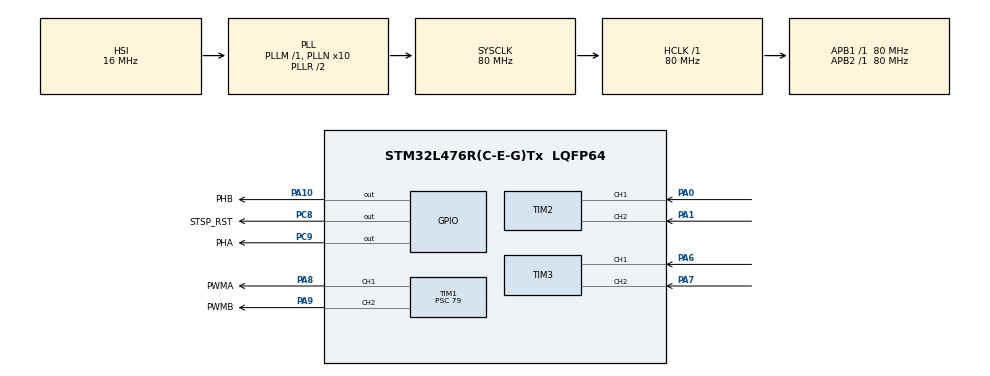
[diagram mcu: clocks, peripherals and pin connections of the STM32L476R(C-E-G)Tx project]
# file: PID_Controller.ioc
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Mcu.Family=STM32L4
Mcu.Name=STM32L476R(C-E-G)Tx
Mcu.Package=LQFP64
NVIC.PriorityGroup=NVIC_PRIORITYGROUP_4
NVIC.TIM4_IRQn=true\:0\:0\:false\:false\:true\:true\:true\:true
PA0.Signal=S_TIM2_CH1
PA1.Signal=S_TIM2_CH2
PA10.GPIO_Label=PHB
PA10.Signal=GPIO_Output
PA13\ (JTMS-SWDIO).Mode=Serial_Wire
PA13\ (JTMS-SWDIO).Signal=SYS_JTMS-SWDIO
PA14\ (JTCK-SWCLK).Mode=Serial_Wire
PA14\ (JTCK-SWCLK).Signal=SYS_JTCK-SWCLK
PA6.Signal=S_TIM3_CH1
PA7.Signal=S_TIM3_CH2
PA8.GPIO_Label=PWMA
PA8.Signal=S_TIM1_CH1
PA9.GPIO_Label=PWMB
PA9.Signal=S_TIM1_CH2
PC8.GPIO_Label=STSP_RST
PC8.Signal=GPIO_Output
PC9.GPIO_Label=PHA
PC9.Signal=GPIO_Output
ProjectManager.HeapSize=0x200
ProjectManager.StackSize=0x400
ProjectManager.TargetToolchain=MDK-ARM V5.32
RCC.ADCFreq_Value=64000000
RCC.AHBFreq_Value=80000000
RCC.APB1Freq_Value=80000000
RCC.APB1TimFreq_Value=80000000
RCC.APB2Freq_Value=80000000
RCC.APB2TimFreq_Value=80000000
RCC.CortexFreq_Value=80000000
RCC.HCLKFreq_Value=80000000
RCC.HSE_VALUE=8000000
RCC.HSI_VALUE=16000000
RCC.LSE_VALUE=32768
RCC.MSI_VALUE=4000000
RCC.PLLN=10
RCC.PLLSourceVirtual=RCC_PLLSOURCE_HSI
RCC.SYSCLKFreq_VALUE=80000000
RCC.SYSCLKSource=RCC_SYSCLKSOURCE_PLLCLK
RCC.USBFreq_Value=64000000
RCC.VCOOutputFreq_Value=160000000
SH.S_TIM1_CH1.0=TIM1_CH1,PWM Generation1 CH1
SH.S_TIM1_CH2.0=TIM1_CH2,PWM Generation2 CH2
SH.S_TIM2_CH1.0=TIM2_CH1,Encoder_Interface
SH.S_TIM2_CH2.0=TIM2_CH2,Encoder_Interface
SH.S_TIM3_CH1.0=TIM3_CH1,Encoder_Interface
SH.S_TIM3_CH2.0=TIM3_CH2,Encoder_Interface
TIM1.Channel-PWM\ Generation1\ CH1=TIM_CHANNEL_1
TIM1.Channel-PWM\ Generation2\ CH2=TIM_CHANNEL_2
TIM1.Period=999
TIM1.Prescaler=79
TIM2.EncoderMode=TIM_ENCODERMODE_TI12
TIM3.EncoderMode=TIM_ENCODERMODE_TI12
TIM4.Period=9999
TIM4.Prescaler=79
VP_TIM4_VS_ClockSourceINT.Mode=Internal
board=custom

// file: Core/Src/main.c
/* USER CODE BEGIN Header */
/**
  ******************************************************************************
  * @file           : main.c
  * @brief          : Main program body
  ******************************************************************************
  * @attention
  *
  * Copyright (c) 2026 STMicroelectronics.
  * All rights reserved.
  *
  * This software is licensed under terms that can be found in the LICENSE file
  * in the root directory of this software component.
  * If no LICENSE file comes with this software, it is provided AS-IS.
  *
  ******************************************************************************
  */
/* USER CODE END Header */
#include "main.h"

/* USER CODE BEGIN Includes */
	#include "motor_control.h"
	#include "motor_encoder.h"
	#include <stdio.h>
/* USER CODE END Includes */

/* USER CODE BEGIN PD */
motor_inst motor_a;
motor_inst motor_b;

encoder_inst motora_enc;
encoder_inst motorb_enc;

volatile  uint8_t timer_flag;

int test_count=0;

/* USER CODE END PD */

TIM_HandleTypeDef htim1;
TIM_HandleTypeDef htim2;
TIM_HandleTypeDef htim3;
TIM_HandleTypeDef htim4;

void SystemClock_Config(void);
static void MX_GPIO_Init(void);
static void MX_TIM1_Init(void);
static void MX_TIM2_Init(void);
static void MX_TIM3_Init(void);
static void MX_TIM4_Init(void);

/* USER CODE BEGIN 0 */

void HAL_TIM_PeriodElapsedCallback(TIM_HandleTypeDef *htim)
{
	if(htim == &htim4)
	{
		timer_flag = 1;
	}
}

/* USER CODE END 0 */

int main(void)
{

  /* MCU Configuration--------------------------------------------------------*/

  /* Reset of all peripherals, Initializes the Flash interface and the Systick. */
  HAL_Init();

  /* Configure the system clock */
  SystemClock_Config();

  /* Initialize all configured peripherals */
  MX_GPIO_Init();
  MX_TIM1_Init();
  MX_TIM2_Init();
  MX_TIM3_Init();
  MX_TIM4_Init();
  /* USER CODE BEGIN 2 */
	HAL_TIM_Base_Start_IT(&htim4);

//motor_init(&motor_a, &htim1, TIM_CHANNEL_1, PHA_GPIO_Port,
//					PHA_Pin, STSP_RST_GPIO_Port, STSP_RST_Pin, 1);
//motor_init(&motor_b, &htim1, TIM_CHANNEL_2, PHB_GPIO_Port,
//					PHB_Pin, STSP_RST_GPIO_Port, STSP_RST_Pin, -1);
//
//encoder_init(&motora_enc, &htim3, 0.002f, +1);

//encoder_init(&motorb_enc, &htim2, 0.002f, -1);

//uint32_t last_time = HAL_GetTick();
  /* USER CODE END 2 */

  /* Infinite loop */
  while (1)
  {

    /* USER CODE BEGIN 3 */

		if(timer_flag)
		{
			test_count++;
			timer_flag = 0;
//			get_encoder_speed(&motora_enc);
//			get_encoder_speed(&motorb_enc);

		}

//		uint32_t now = HAL_GetTick();

//		if (now - last_time >= 2)   // dã trôi qua >= 2ms
//		{
//			float actual_dt = (now - last_time) / 1000.0f;
//			last_time = now;
//
//			get_encoder_speed(&motora_enc);
//			get_encoder_speed(&motorb_enc);
//
//		}

  }
  /* USER CODE END 3 */
}

void SystemClock_Config(void)
{
  RCC_OscInitTypeDef RCC_OscInitStruct = {0};
  RCC_ClkInitTypeDef RCC_ClkInitStruct = {0};

  /** Configure the main internal regulator output voltage
  */
  if (HAL_PWREx_ControlVoltageScaling(PWR_REGULATOR_VOLTAGE_SCALE1) != HAL_OK)
  {
    Error_Handler();
  }

  /** Initializes the RCC Oscillators according to the specified parameters
  * in the RCC_OscInitTypeDef structure.
  */
  RCC_OscInitStruct.OscillatorType = RCC_OSCILLATORTYPE_HSI;
  RCC_OscInitStruct.HSIState = RCC_HSI_ON;
  RCC_OscInitStruct.HSICalibrationValue = RCC_HSICALIBRATION_DEFAULT;
  RCC_OscInitStruct.PLL.PLLState = RCC_PLL_ON;
  RCC_OscInitStruct.PLL.PLLSource = RCC_PLLSOURCE_HSI;
  RCC_OscInitStruct.PLL.PLLM = 1;
  RCC_OscInitStruct.PLL.PLLN = 10;
  RCC_OscInitStruct.PLL.PLLP = RCC_PLLP_DIV7;
  RCC_OscInitStruct.PLL.PLLQ = RCC_PLLQ_DIV2;
  RCC_OscInitStruct.PLL.PLLR = RCC_PLLR_DIV2;
  if (HAL_RCC_OscConfig(&RCC_OscInitStruct) != HAL_OK)
  {
    Error_Handler();
  }

  /** Initializes the CPU, AHB and APB buses clocks
  */
  RCC_ClkInitStruct.ClockType = RCC_CLOCKTYPE_HCLK|RCC_CLOCKTYPE_SYSCLK
                              |RCC_CLOCKTYPE_PCLK1|RCC_CLOCKTYPE_PCLK2;
  RCC_ClkInitStruct.SYSCLKSource = RCC_SYSCLKSOURCE_PLLCLK;
  RCC_ClkInitStruct.AHBCLKDivider = RCC_SYSCLK_DIV1;
  RCC_ClkInitStruct.APB1CLKDivider = RCC_HCLK_DIV1;
  RCC_ClkInitStruct.APB2CLKDivider = RCC_HCLK_DIV1;

  if (HAL_RCC_ClockConfig(&RCC_ClkInitStruct, FLASH_LATENCY_4) != HAL_OK)
  {
    Error_Handler();
  }
}

static void MX_TIM1_Init(void)
{

  TIM_MasterConfigTypeDef sMasterConfig = {0};
  TIM_OC_InitTypeDef sConfigOC = {0};
  TIM_BreakDeadTimeConfigTypeDef sBreakDeadTimeConfig = {0};

  htim1.Instance = TIM1;
  htim1.Init.Prescaler = 79;
  htim1.Init.CounterMode = TIM_COUNTERMODE_UP;
  htim1.Init.Period = 999;
  htim1.Init.ClockDivision = TIM_CLOCKDIVISION_DIV1;
  htim1.Init.RepetitionCounter = 0;
  htim1.Init.AutoReloadPreload = TIM_AUTORELOAD_PRELOAD_DISABLE;
  if (HAL_TIM_PWM_Init(&htim1) != HAL_OK)
  {
    Error_Handler();
  }
  sMasterConfig.MasterOutputTrigger = TIM_TRGO_RESET;
  sMasterConfig.MasterOutputTrigger2 = TIM_TRGO2_RESET;
  sMasterConfig.MasterSlaveMode = TIM_MASTERSLAVEMODE_DISABLE;
  if (HAL_TIMEx_MasterConfigSynchronization(&htim1, &sMasterConfig) != HAL_OK)
  {
    Error_Handler();
  }
  sConfigOC.OCMode = TIM_OCMODE_PWM1;
  sConfigOC.Pulse = 0;
  sConfigOC.OCPolarity = TIM_OCPOLARITY_HIGH;
  sConfigOC.OCNPolarity = TIM_OCNPOLARITY_HIGH;
  sConfigOC.OCFastMode = TIM_OCFAST_DISABLE;
  sConfigOC.OCIdleState = TIM_OCIDLESTATE_RESET;
  sConfigOC.OCNIdleState = TIM_OCNIDLESTATE_RESET;
  if (HAL_TIM_PWM_ConfigChannel(&htim1, &sConfigOC, TIM_CHANNEL_1) != HAL_OK)
  {
    Error_Handler();
  }
  if (HAL_TIM_PWM_ConfigChannel(&htim1, &sConfigOC, TIM_CHANNEL_2) != HAL_OK)
  {
    Error_Handler();
  }
  sBreakDeadTimeConfig.OffStateRunMode = TIM_OSSR_DISABLE;
  sBreakDeadTimeConfig.OffStateIDLEMode = TIM_OSSI_DISABLE;
  sBreakDeadTimeConfig.LockLevel = TIM_LOCKLEVEL_OFF;
  sBreakDeadTimeConfig.DeadTime = 0;
  sBreakDeadTimeConfig.BreakState = TIM_BREAK_DISABLE;
  sBreakDeadTimeConfig.BreakPolarity = TIM_BREAKPOLARITY_HIGH;
  sBreakDeadTimeConfig.BreakFilter = 0;
  sBreakDeadTimeConfig.Break2State = TIM_BREAK2_DISABLE;
  sBreakDeadTimeConfig.Break2Polarity = TIM_BREAK2POLARITY_HIGH;
  sBreakDeadTimeConfig.Break2Filter = 0;
  sBreakDeadTimeConfig.AutomaticOutput = TIM_AUTOMATICOUTPUT_DISABLE;
  if (HAL_TIMEx_ConfigBreakDeadTime(&htim1, &sBreakDeadTimeConfig) != HAL_OK)
  {
    Error_Handler();
  }
  HAL_TIM_MspPostInit(&htim1);

}

static void MX_TIM2_Init(void)
{

  TIM_Encoder_InitTypeDef sConfig = {0};
  TIM_MasterConfigTypeDef sMasterConfig = {0};

  htim2.Instance = TIM2;
  htim2.Init.Prescaler = 0;
  htim2.Init.CounterMode = TIM_COUNTERMODE_UP;
  htim2.Init.Period = 4294967295;
  htim2.Init.ClockDivision = TIM_CLOCKDIVISION_DIV1;
  htim2.Init.AutoReloadPreload = TIM_AUTORELOAD_PRELOAD_DISABLE;
  sConfig.EncoderMode = TIM_ENCODERMODE_TI12;
  sConfig.IC1Polarity = TIM_ICPOLARITY_RISING;
  sConfig.IC1Selection = TIM_ICSELECTION_DIRECTTI;
  sConfig.IC1Prescaler = TIM_ICPSC_DIV1;
  sConfig.IC1Filter = 0;
  sConfig.IC2Polarity = TIM_ICPOLARITY_RISING;
  sConfig.IC2Selection = TIM_ICSELECTION_DIRECTTI;
  sConfig.IC2Prescaler = TIM_ICPSC_DIV1;
  sConfig.IC2Filter = 0;
  if (HAL_TIM_Encoder_Init(&htim2, &sConfig) != HAL_OK)
  {
    Error_Handler();
  }
  sMasterConfig.MasterOutputTrigger = TIM_TRGO_RESET;
  sMasterConfig.MasterSlaveMode = TIM_MASTERSLAVEMODE_DISABLE;
  if (HAL_TIMEx_MasterConfigSynchronization(&htim2, &sMasterConfig) != HAL_OK)
  {
    Error_Handler();
  }

}

static void MX_TIM3_Init(void)
{

  TIM_Encoder_InitTypeDef sConfig = {0};
  TIM_MasterConfigTypeDef sMasterConfig = {0};

  htim3.Instance = TIM3;
  htim3.Init.Prescaler = 0;
  htim3.Init.CounterMode = TIM_COUNTERMODE_UP;
  htim3.Init.Period = 65535;
  htim3.Init.ClockDivision = TIM_CLOCKDIVISION_DIV1;
  htim3.Init.AutoReloadPreload = TIM_AUTORELOAD_PRELOAD_DISABLE;
  sConfig.EncoderMode = TIM_ENCODERMODE_TI12;
  sConfig.IC1Polarity = TIM_ICPOLARITY_RISING;
  sConfig.IC1Selection = TIM_ICSELECTION_DIRECTTI;
  sConfig.IC1Prescaler = TIM_ICPSC_DIV1;
  sConfig.IC1Filter = 0;
  sConfig.IC2Polarity = TIM_ICPOLARITY_RISING;
  sConfig.IC2Selection = TIM_ICSELECTION_DIRECTTI;
  sConfig.IC2Prescaler = TIM_ICPSC_DIV1;
  sConfig.IC2Filter = 0;
  if (HAL_TIM_Encoder_Init(&htim3, &sConfig) != HAL_OK)
  {
    Error_Handler();
  }
  sMasterConfig.MasterOutputTrigger = TIM_TRGO_RESET;
  sMasterConfig.MasterSlaveMode = TIM_MASTERSLAVEMODE_DISABLE;
  if (HAL_TIMEx_MasterConfigSynchronization(&htim3, &sMasterConfig) != HAL_OK)
  {
    Error_Handler();
  }

}

static void MX_TIM4_Init(void)
{

  TIM_ClockConfigTypeDef sClockSourceConfig = {0};
  TIM_MasterConfigTypeDef sMasterConfig = {0};

  htim4.Instance = TIM4;
  htim4.Init.Prescaler = 79;
  htim4.Init.CounterMode = TIM_COUNTERMODE_UP;
  htim4.Init.Period = 9999;
  htim4.Init.ClockDivision = TIM_CLOCKDIVISION_DIV1;
  htim4.Init.AutoReloadPreload = TIM_AUTORELOAD_PRELOAD_DISABLE;
  if (HAL_TIM_Base_Init(&htim4) != HAL_OK)
  {
    Error_Handler();
  }
  sClockSourceConfig.ClockSource = TIM_CLOCKSOURCE_INTERNAL;
  if (HAL_TIM_ConfigClockSource(&htim4, &sClockSourceConfig) != HAL_OK)
  {
    Error_Handler();
  }
  sMasterConfig.MasterOutputTrigger = TIM_TRGO_RESET;
  sMasterConfig.MasterSlaveMode = TIM_MASTERSLAVEMODE_DISABLE;
  if (HAL_TIMEx_MasterConfigSynchronization(&htim4, &sMasterConfig) != HAL_OK)
  {
    Error_Handler();
  }

}

static void MX_GPIO_Init(void)
{
  GPIO_InitTypeDef GPIO_InitStruct = {0};

  /* GPIO Ports Clock Enable */
  __HAL_RCC_GPIOA_CLK_ENABLE();
  __HAL_RCC_GPIOC_CLK_ENABLE();

  /*Configure GPIO pin Output Level */
  HAL_GPIO_WritePin(GPIOC, STSP_RST_Pin|PHA_Pin, GPIO_PIN_RESET);

  /*Configure GPIO pin Output Level */
  HAL_GPIO_WritePin(PHB_GPIO_Port, PHB_Pin, GPIO_PIN_RESET);

  /*Configure GPIO pins : STSP_RST_Pin PHA_Pin */
  GPIO_InitStruct.Pin = STSP_RST_Pin|PHA_Pin;
  GPIO_InitStruct.Mode = GPIO_MODE_OUTPUT_PP;
  GPIO_InitStruct.Pull = GPIO_NOPULL;
  GPIO_InitStruct.Speed = GPIO_SPEED_FREQ_LOW;
  HAL_GPIO_Init(GPIOC, &GPIO_InitStruct);

  /*Configure GPIO pin : PHB_Pin */
  GPIO_InitStruct.Pin = PHB_Pin;
  GPIO_InitStruct.Mode = GPIO_MODE_OUTPUT_PP;
  GPIO_InitStruct.Pull = GPIO_NOPULL;
  GPIO_InitStruct.Speed = GPIO_SPEED_FREQ_LOW;
  HAL_GPIO_Init(PHB_GPIO_Port, &GPIO_InitStruct);

}

void Error_Handler(void)
{
  __disable_irq();
  while (1)
  {
  }
}
